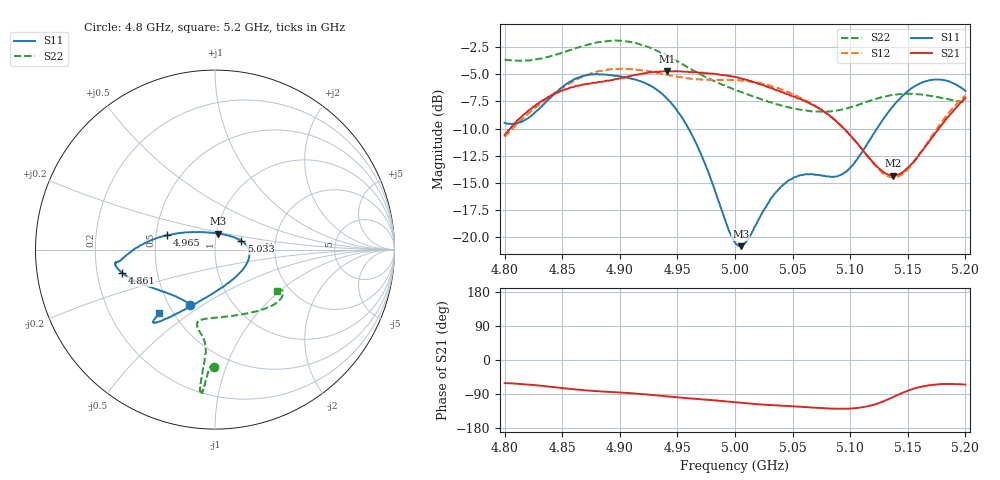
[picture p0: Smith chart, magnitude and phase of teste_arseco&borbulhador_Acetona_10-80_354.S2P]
! Network Analyzer HP8722D
! Hewlett-Packard
! Data name: Linha & Wilkinson
! Saver's name: Rodrigo Anjos
! Comments: Teste da utilização de aquisição
! continua pelo VNA HP8722D
! Time and date: 17/4/2025 17:18
!  Frequency  S11  S21  S12  S22
# HZ  S  MA R 50
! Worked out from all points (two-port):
!   401 points, 4.8 GHz to 5.2 GHz, reference 50 ohm
!   highest |S21| = -4.70 dB at 4.941 GHz (marker M1); lowest = -14.3 dB at 5.137 GHz (marker M2)
!   |S21| within 3 dB of the highest: 4.829 GHz to 5.065 GHz (236.1 MHz wide, 4.77 % of centre); 5.195096 GHz to end of sweep
!   lowest |S11| = -20.8 dB at 5.005 GHz (marker M3), VSWR 1.20, Z = 50.8 + j9.16 ohm
!   |S11| at or under -10 dB: 4.96 GHz to 5.123 GHz (163.6 MHz wide, 3.24 % of centre)
!   |S22| runs from -8.5 to -1.9 dB; largest |S21 - S12| = 0.87
!   S11 on the Smith chart (normalised r, x): 4.8 GHz: 0.64, -0.44; 4.861 GHz: 0.31, -0.11; 4.965 GHz: 0.57, +0.10; 5.033 GHz: 1.33, +0.13; 5.2 GHz: 0.42, -0.39
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4.8e9  0.3358 -114.2  0.2955 -61.1  0.2894 -175.2  0.6557 -90.3
4.819e9  0.3498 -134.2  0.3756 -64.5  0.364 -174.1  0.6516 -91.9
4.861e9  0.5352 -166.0  0.494 -77.5  0.5279 -177.4  0.7379 -94.2
4.867e9  0.5502 -168.4  0.502 -79.2  0.5459 -178.5  0.7556 -94.3
4.9e9  0.5501 -172.8  0.5383 -85.8  0.5956 175.0  0.8018 -95.7
4.934e9  0.4697 -178.5  0.5776 -94.1  0.5705 171.5  0.7138 -96.1
4.941e9  0.4348 178.4  0.582 -96.0  0.5591 171.3  0.6865 -95.8
4.965e9  0.279 163.4  0.5765 -102.4  0.5338 173.2  0.5817 -95.3
5e9  0.0946 98.7  0.5469 -111.6  0.5286 175.8  0.4777 -99.2
5.005e9  0.09082 79.6  0.5381 -112.9  0.5264 175.7  0.466 -100.4
5.012e9  0.09921 56.7  0.5245 -114.6  0.5214 175.5  0.4512 -101.8
5.033e9  0.1543 18.6  0.4835 -119.1  0.4921 174.4  0.4145 -103.4
5.049e9  0.185 2.4  0.4475 -121.9  0.4585 173.9  0.3931 -99.5
5.067e9  0.195 -17.0  0.4081 -125.5  0.4116 173.4  0.3792 -90.1
5.096e9  0.1997 -67.5  0.3108 -128.6  0.3103 174.6  0.3906 -67.5
5.123e9  0.315 -109.0  0.2118 -115.6  0.2107 -170.1  0.4344 -48.5
5.134e9  0.3816 -117.7  0.1934 -102.3  0.1898 -155.3  0.4488 -43.0
5.137e9  0.3994 -119.5  0.1919 -98.3  0.1884 -150.5  0.4518 -41.7
5.15e9  0.4694 -125.1  0.2085 -81.3  0.2052 -130.9  0.4571 -36.9
5.17e9  0.5291 -129.6  0.2821 -66.1  0.2875 -112.2  0.4473 -32.2
5.184e9  0.5245 -130.8  0.3532 -63.2  0.365 -107.5  0.4332 -31.2
5.2e9  0.4715 -131.1  0.4369 -64.9  0.449 -106.9  0.4157 -33.7
